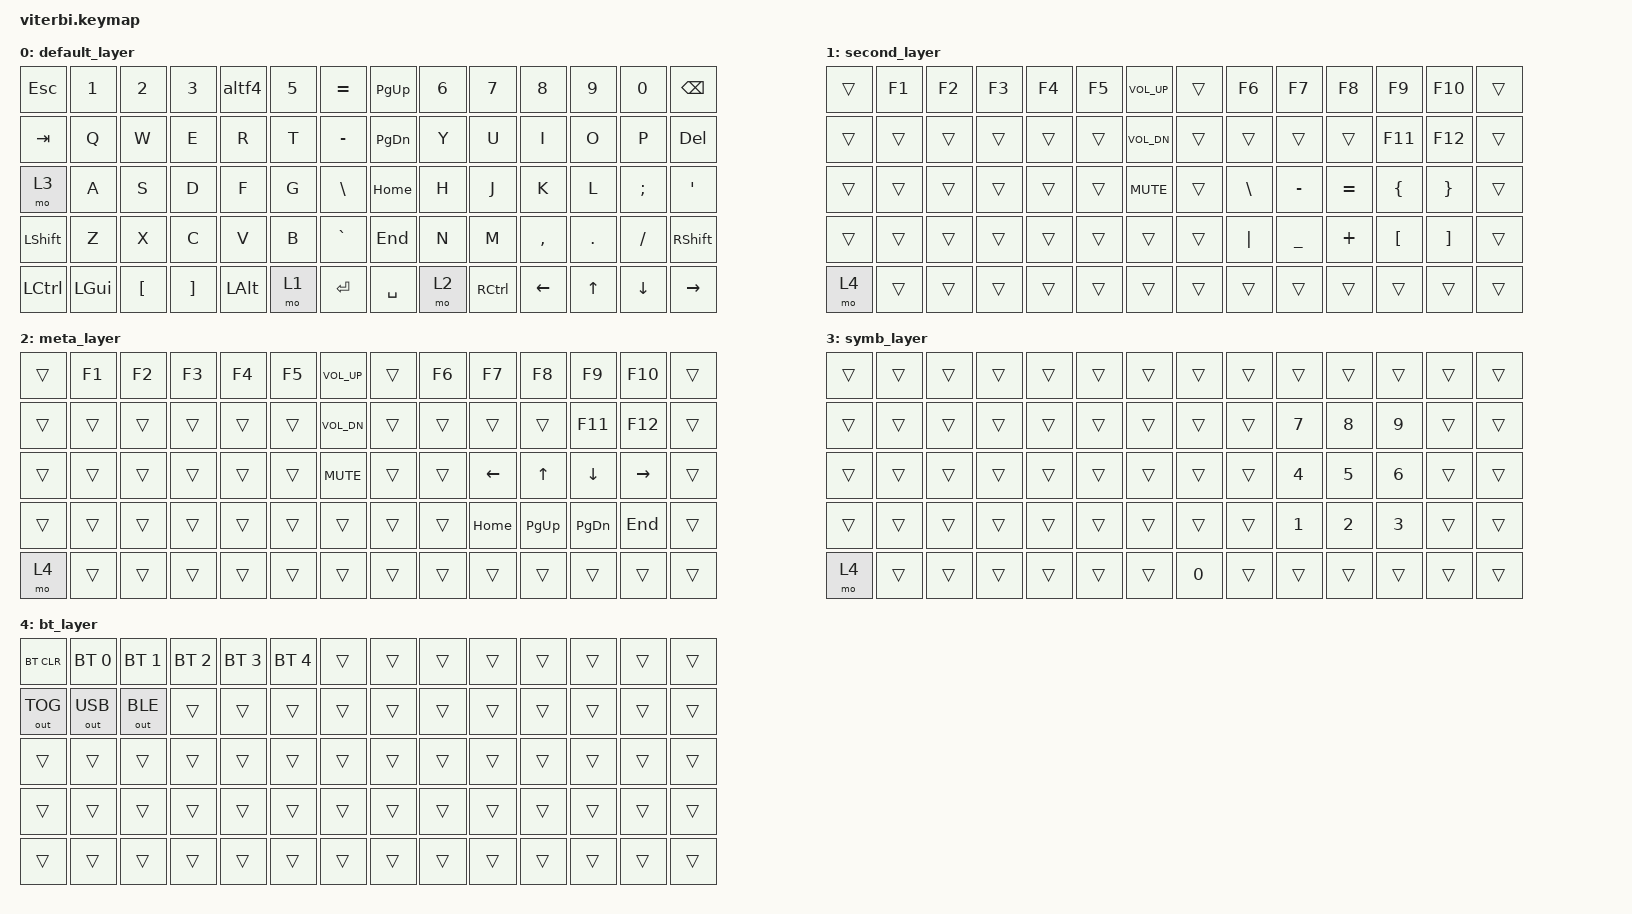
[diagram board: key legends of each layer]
#include <behaviors.dtsi>
#include <dt-bindings/zmk/bt.h>
#include <dt-bindings/zmk/keys.h>
#include <dt-bindings/zmk/outputs.h>

/ {

    behaviors {
              altf4: alt_f4 {
              compatible = "zmk,behavior-mod-morph";
              label = "ALT_F4";
              #binding-cells = <0>;
              bindings = <&kp N4>, <&kp LA(F4)>;
              mods = <(MOD_LALT)>;
              };
       };

    keymap {
        compatible = "zmk,keymap";

  // DEFAULT
  // ,------------------------------------------------.   ,------------------------------------------------.
  // | ESC  |   1  |   2  |   3  |  4*  |  5   |  =   |   | PgUp |   6  |   7  |   8  |   9  |   0  | Bksp |
  // |------+------+------+------+------+------+------|   |------+------+------+------+------+------+------|
  // | TAB  |   Q  |   W  |   E  |   R  |  T   |  -   |   | PgDn |   Y  |   U  |   I  |   O  |   P  | Del  |
  // |------+------+------+------+------+------+------|   |------+------+------+------+------+------+------|
  // | NUM  |   A  |   S  |   D  |   F  |  G   |  \   |   | Home |   H  |   J  |   K  |   L  |   ;  |   '  | 
  // |------+------+------+------+------+------+------|   |------+------+------+------+------+------+------|
  // | LSft |   Z  |   X  |   C  |   V  |  B   |  `   |   | End  |   N  |   M  |   ,  |   .  |   /  | RSft | 
  // |------+------+------+------+------+------+------|   |------+------+------+------+------+------+------|
  // | LCtrl| LGui |   [  |   ]  | LAlt | LYR2 |Enter |   |Space | SYMB | RCtrl| Left |  Up  | Down | Right|
  // `------------------------------------------------'   `------------------------------------------------'
  //
        default_layer {
            bindings = <
&kp ESC   &kp N1     &kp N2    &kp N3    &altf4    &kp N5  &kp EQUAL   /**/ &kp PG_UP  &kp N6   &kp N7    &kp N8     &kp N9    &kp N0    &kp BACKSPACE
&kp TAB   &kp Q      &kp W     &kp E     &kp R     &kp T   &kp MINUS   /**/ &kp PG_DN  &kp Y    &kp U     &kp I      &kp O     &kp P     &kp DEL 
&mo 3     &kp A      &kp S     &kp D     &kp F     &kp G   &kp BSLH    /**/ &kp HOME   &kp H    &kp J     &kp K      &kp L     &kp SEMI  &kp SQT   
&kp LSHFT &kp Z      &kp X     &kp C     &kp V     &kp B   &kp GRAVE   /**/ &kp END    &kp N    &kp M     &kp COMMA  &kp DOT   &kp FSLH  &kp RSHFT 
&kp LCTRL &kp LGUI   &kp LBKT  &kp RBKT  &kp LALT  &mo 1   &kp ENTER   /**/ &kp SPACE  &mo 2    &kp RCTRL &kp LEFT   &kp UP    &kp DOWN  &kp RIGHT  
            >;
        };

  // Layer 2
  // ,------------------------------------------------.   ,------------------------------------------------.
  // |      |  F1  |  F2  |  F3  |  F4  |  F5  | Vol+ |   |      |  F6  |  F7  |  F8  |  F9  | F10  |      |
  // |------+------+------+------+------+------+------|   |------+------+------+------+------+------+------|
  // |      |      |      |      |      |      | Vol- |   |      |      |      |      | F11  | F12  |      |
  // |------+------+------+------+------+------+------|   |------+------+------+------+------+------+------|
  // |      |      |      |      |      |      | Mute |   |      |  \   |  -   |  =   |  {   |   }  |      |
  // |------+------+------+------+------+------+------|   |------+------+------+------+------+------+------|
  // |      |      |      |      |      |      |      |   |      |  |   |  _   |  +   |  [   |   ]  |      |
  // |------+------+------+------+------+------+------|   |------+------+------+------+------+------+------|
  // |  BT  |      |      |      |      |      |      |   |      |      |      |      |      |      |      |
  // `------------------------------------------------'   `------------------------------------------------'
  //
        second_layer {
            bindings = <
&trans  &kp F1   &kp F2    &kp F3   &kp F4  &kp F5  &kp C_VOL_UP /**/ &trans   &kp F6    &kp F7     &kp F8     &kp F9    &kp F10   &trans
&trans  &trans   &trans    &trans   &trans  &trans  &kp C_VOL_DN /**/ &trans   &trans    &trans     &trans     &kp F11   &kp F12   &trans
&trans  &trans   &trans    &trans   &trans  &trans  &kp C_MUTE   /**/ &trans   &kp BSLH  &kp MINUS  &kp EQUAL  &kp LBRC  &kp RBRC  &trans
&trans  &trans   &trans    &trans   &trans  &trans  &trans       /**/ &trans   &kp PIPE  &kp UNDER  &kp PLUS   &kp LBKT  &kp RBKT  &trans
&mo 4   &trans   &trans    &trans   &trans  &trans  &trans       /**/ &trans   &trans    &trans     &trans     &trans    &trans    &trans
            >;
        };

  // META
  // ,------------------------------------------------.   ,------------------------------------------------.
  // |      |  F1  |  F2  |  F3  |  F4  |  F5  | Vol+ |   |      |  F6  |  F7  |  F8  |  F9  | F10  |      |
  // |------+------+------+------+------+------+------|   |------+------+------+------+------+------+------|
  // |      |      |      |      |      |      | Vol- |   |      |      |      |      | F11  | F12  |      |
  // |------+------+------+------+------+------+------|   |------+------+------+------+------+------+------|
  // |      |      |      |      |      |      | Mute |   |      |      |  <-  |  ^   |  v   |  ->  |      |
  // |------+------+------+------+------+------+------|   |------+------+------+------+------+------+------|
  // |      |      |      |      |      |      |      |   |      |      | Home | PgUp | PgDn | End  |      |
  // |------+------+------+------+------+------+------|   |------+------+------+------+------+------+------|
  // | BT   |      |      |      |      |      |      |   |      |      |      |      |      |      |      |
  // `------------------------------------------------'   `------------------------------------------------'
  //
        meta_layer {
            bindings = <
&trans    &kp F1   &kp F2  &kp F3  &kp F4   &kp F5  &kp C_VOL_UP  /**/ &trans   &kp F6   &kp F7   &kp F8     &kp F9     &kp F10   &trans
&trans    &trans   &trans  &trans  &trans   &trans  &kp C_VOL_DN  /**/ &trans   &trans   &trans   &trans     &kp F11    &kp F12   &trans
&trans    &trans   &trans  &trans  &trans   &trans  &kp C_MUTE    /**/ &trans   &trans   &kp LEFT &kp UP     &kp DOWN   &kp RIGHT &trans
&trans    &trans   &trans  &trans  &trans   &trans  &trans        /**/ &trans   &trans   &kp HOME &kp PG_UP  &kp PG_DN  &kp END   &trans
&mo 4     &trans   &trans  &trans  &trans   &trans  &trans        /**/ &trans   &trans   &trans   &trans     &trans     &trans    &trans
            >;
        };

  // SYMB
  // ,------------------------------------------------.   ,------------------------------------------------.
  // |      |      |      |      |      |      |      |   |      |      |      |      |      |      |      |
  // |------+------+------+------+------+------+------|   |-------------+------+------+------+------+------|
  // |      |      |      |      |      |      |      |   |      |      |   7  |   8  |   9  |      |      |
  // |------+------+------+------+------+------+------|   |------|------+------+------+------+------+------|
  // |      |      |      |      |      |      |      |   |      |      |   4  |   5  |   6  |      |      |
  // |------+------+------+------+------+------+------|   |------|------+------+------+------+------+------|
  // |      |      |      |      |      |      |      |   |      |      |   1  |   2  |   3  |      |      |
  // |------+------+------+------+------+------+------|   |------+------+------+------+------+------+------|
  // |  BT  |      |      |      |      |      |      |   |   0  |      |      |      |      |      |      |
  // `------------------------------------------------'   `------------------------------------------------'
  //
        symb_layer {
            bindings = <
&trans  &trans   &trans    &trans   &trans     &trans      &trans /**/ &trans    &trans   &trans    &trans   &trans   &trans    &trans
&trans  &trans   &trans    &trans   &trans     &trans      &trans /**/ &trans    &trans   &kp N7    &kp N8   &kp N9   &trans    &trans
&trans  &trans   &trans    &trans   &trans     &trans      &trans /**/ &trans    &trans   &kp N4    &kp N5   &kp N6   &trans    &trans
&trans  &trans   &trans    &trans   &trans     &trans      &trans /**/ &trans    &trans   &kp N1    &kp N2   &kp N3   &trans    &trans
&mo 4   &trans   &trans    &trans   &trans     &trans      &trans /**/ &kp N0    &trans   &trans    &trans   &trans   &trans    &trans
            >;
        };

  // BT 
  // ,------------------------------------------------.   ,------------------------------------------------.
  // |BT_CLR| BT1  | BT2  | BT3  | BT4  | BT5  |      |   |      |      |      |      |      |      |      |
  // |------+------+------+------+------+------+------|   |-------------+------+------+------+------+------|
  // |OutTog| USB  | BLE  |      |      |      |      |   |      |      |      |      |      |      |      |
  // |------+------+------+------+------+------+------|   |------|------+------+------+------+------+------|
  // |      |      |      |      |      |      |      |   |      |      |      |      |      |      |      |
  // |------+------+------+------+------+------+------|   |------+------+------+------+------+------+------|
  // |      |      |      |      |      |      |      |   |      |      |      |      |      |      |      |
  // |------+------+------+------+------+------+------|   |------+------+------+------+------+------+------|
  // |      |      |      |      |      |      |      |   |      |      |      |      |      |      |      |
  // `------------------------------------------------'   `------------------------------------------------'
  //
        bt_layer {
            bindings = <
&bt BT_CLR    &bt BT_SEL 0 &bt BT_SEL 1 &bt BT_SEL 2 &bt BT_SEL 3 &bt BT_SEL 4 &trans       /**/ &trans  &trans  &trans  &trans &trans   &trans   &trans
&out OUT_TOG  &out OUT_USB &out OUT_BLE &trans       &trans       &trans       &trans       /**/ &trans  &trans  &trans  &trans &trans   &trans   &trans
&trans        &trans       &trans       &trans       &trans       &trans       &trans       /**/ &trans  &trans  &trans  &trans &trans   &trans   &trans
&trans        &trans       &trans       &trans       &trans       &trans       &trans       /**/ &trans  &trans  &trans  &trans &trans   &trans   &trans
&trans        &trans       &trans       &trans       &trans       &trans       &trans       /**/ &trans  &trans  &trans  &trans &trans   &trans   &trans
            >;
        };

    };
};
